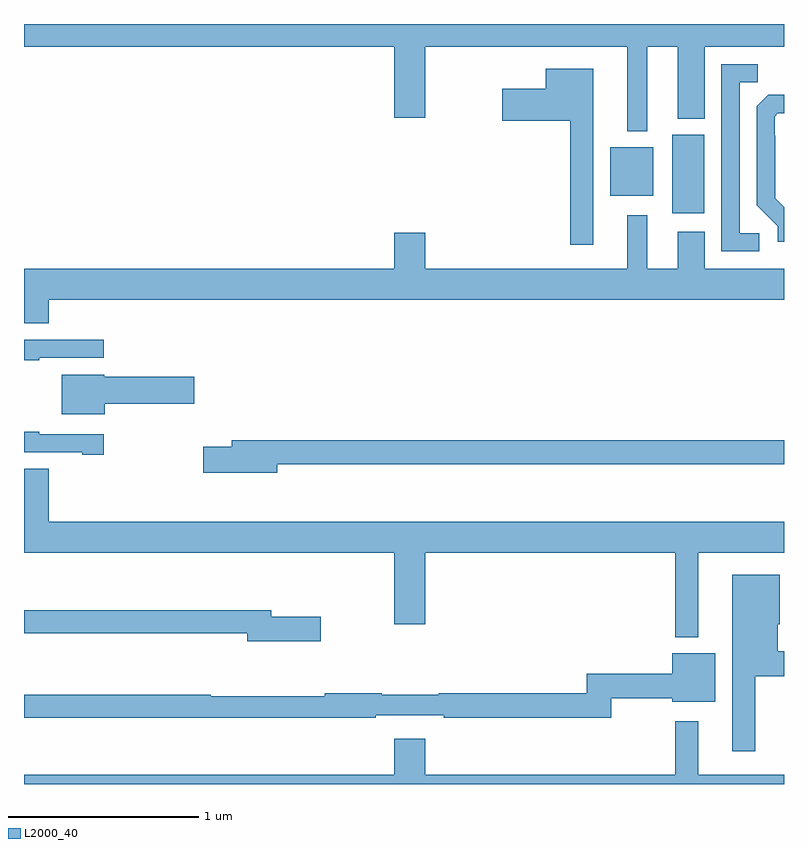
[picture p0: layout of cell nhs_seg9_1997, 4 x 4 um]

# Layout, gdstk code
import gdstk
lib = gdstk.Library(unit=1e-6, precision=1e-09)
def R(c, l, rs):  # rectangles x0, y0, x1, y1
    for r in rs: c.add(gdstk.rectangle(r[:2], r[2:], *l))
def P(c, l, *ps):  # polygons
    for p in ps: c.add(gdstk.Polygon(p, *l))
L2000_40 = (2000, 40)

nhs_seg9_1997 = lib.new_cell('nhs_seg9_1997')
R(nhs_seg9_1997, L2000_40, [(226.412,1235.505,226.579,1235.917), (226.085,1235.597,226.312,1235.851)])
P(nhs_seg9_1997, L2000_40, [(223,1236.38),(224.948,1236.38),(224.948,1236.006),(225.112,1236.006),(225.112,1236.38),(226.175,1236.38),(226.175,1235.936),(226.279,1235.936),(226.279,1236.38),(226.442,1236.38),(226.442,1236.002),(226.582,1236.002),(226.582,1236.38),(227,1236.38),(227,1236.5),(223,1236.5)],
  [(226.87,1235.4),(226.767,1235.4),(226.767,1236.193),(226.863,1236.193),(226.863,1236.288),(226.671,1236.288),(226.671,1235.304),(226.87,1235.304)],
  [(225.997,1236.265),(225.746,1236.265),(225.746,1236.16),(225.516,1236.16),(225.516,1235.99),(225.876,1235.99),(225.876,1235.337),(225.997,1235.337)],
  [(227,1235.536),(226.953,1235.583),(226.953,1235.912),(226.95,1235.912),(226.95,1236.012),(226.968,1236.03),(227,1236.03),(227,1236.127),(226.916,1236.127),(226.857,1236.068),(226.857,1235.546),(226.967,1235.436),(226.967,1235.354),(227,1235.354)],
  [(223.13,1235.048),(227,1235.048),(227,1235.212),(226.582,1235.212),(226.582,1235.407),(226.442,1235.407),(226.442,1235.212),(226.279,1235.212),(226.279,1235.494),(226.175,1235.494),(226.175,1235.212),(225.112,1235.212),(225.112,1235.401),(224.948,1235.401),(224.948,1235.212),(223,1235.212),(223,1234.924),(223.13,1234.924)],
  [(223.081,1234.743),(223.42,1234.743),(223.42,1234.839),(223,1234.839),(223,1234.731),(223.081,1234.731)],
  [(223.426,1234.502),(223.897,1234.502),(223.897,1234.644),(223.422,1234.644),(223.422,1234.654),(223.199,1234.654),(223.199,1234.445),(223.426,1234.445)],
  [(223.42,1234.341),(223.081,1234.341),(223.081,1234.354),(223,1234.354),(223,1234.245),(223.307,1234.245),(223.307,1234.233),(223.42,1234.233)],
  [(224.332,1234.182),(227,1234.182),(227,1234.31),(224.093,1234.31),(224.093,1234.274),(223.944,1234.274),(223.944,1234.139),(224.332,1234.139)],
  [(226.549,1233.716),(227,1233.716),(227,1233.88),(223.13,1233.88),(223.13,1234.16),(223,1234.16),(223,1233.716),(224.948,1233.716),(224.948,1233.342),(225.112,1233.342),(225.112,1233.716),(226.428,1233.716),(226.428,1233.272),(226.549,1233.272)],
  [(226.849,1233.068),(227,1233.068),(227,1233.2),(226.966,1233.2),(226.966,1233.342),(226.978,1233.342),(226.978,1233.601),(226.727,1233.601),(226.727,1232.673),(226.849,1232.673)],
  [(224.563,1233.381),(224.302,1233.381),(224.302,1233.415),(223,1233.415),(223,1233.294),(224.174,1233.294),(224.174,1233.251),(224.563,1233.251)],
  [(224.852,1232.862),(225.208,1232.862),(225.208,1232.85),(226.09,1232.85),(226.09,1232.952),(226.412,1232.952),(226.412,1232.933),(226.639,1232.933),(226.639,1233.187),(226.412,1233.187),(226.412,1233.08),(225.961,1233.08),(225.961,1232.978),(225.184,1232.978),(225.184,1232.971),(224.884,1232.971),(224.884,1232.978),(224.584,1232.978),(224.584,1232.963),(223.984,1232.963),(223.984,1232.971),(223,1232.971),(223,1232.85),(224.852,1232.85)],
  [(227,1232.548),(226.549,1232.548),(226.549,1232.83),(226.428,1232.83),(226.428,1232.548),(225.112,1232.548),(225.112,1232.737),(224.948,1232.737),(224.948,1232.548),(223,1232.548),(223,1232.5),(227,1232.5)])

lib.write_gds('nhs_seg9_1997.gds')
